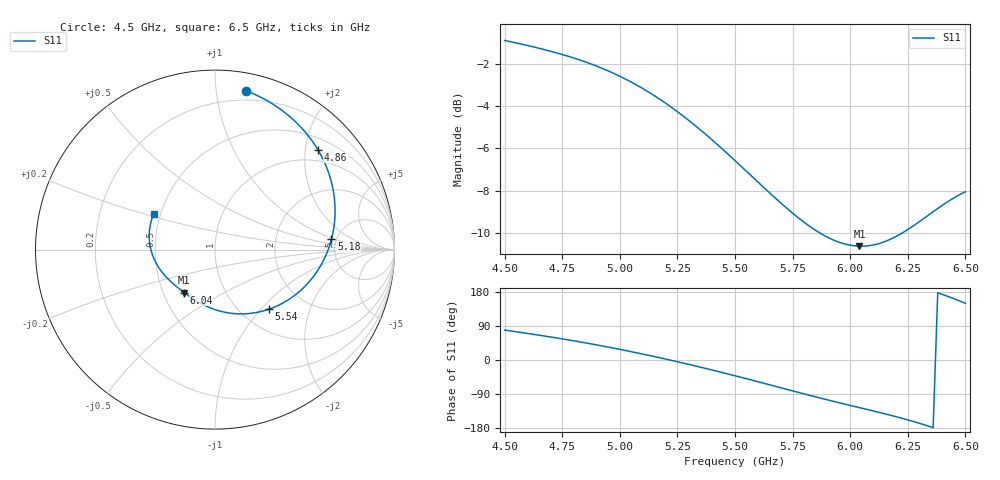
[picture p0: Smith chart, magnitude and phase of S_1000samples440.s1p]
! TOUCHSTONE file generated by CST MICROWAVE STUDIO
! Date and time: Fri Oct 28 04:36:44 2022
! Project name: L.cst
! Parameters = {Di=1.27; Epsilon_r=1.56; InnerDiameter=1.27; Length=2; Lf=10; Lg=60; OuterConductorThickness=0.2921; OuterDiameter=3.6; Wf=3; Wp=41.2; de=1.5; df=6.8; g=0.8; gx=2.05784; gy=2.72662; h=2.34; hf=1.524; px=11.7525; py=12.1704; w=9.7; wx=9.69471; wy=9.44376}
! Header version: 2018
! Port assignment regex: !\s*Touchstone port\s*([0-9]+)\s*=\s*(CST MWS port|CST DS port)\s*([0-9]+|Zmin|Zmax)\s*\(\"(.*)\"\)(\s*mode\s*([0-9]+))?.*
! Touchstone port assignment:
! Touchstone port 1 = CST MWS port 1 ("")
# GHz S DB R 50
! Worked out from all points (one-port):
!   101 points, 4.5 GHz to 6.5 GHz, reference 50 ohm
!   lowest |S11| = -10.6 dB at 6.04 GHz (marker M1), VSWR 1.83, Z = 31.9 - j16.7 ohm
!   |S11| at or under -10 dB: 5.869 GHz to 6.225 GHz (356 MHz wide, 5.89 % of centre)
!   S11 on the Smith chart (normalised r, x): 4.5 GHz: 0.13, +1.21; 4.86 GHz: 0.73, +2.26; 5.18 GHz: 4.55, +0.91; 5.54 GHz: 1.33, -1.11; 6.04 GHz: 0.64, -0.33; 6.5 GHz: 0.46, +0.22
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4.5  -0.90 79.0
4.56  -1.04 73.7
4.64  -1.24 66.4
4.76  -1.59 54.7
4.86  -1.95 44.2
4.94  -2.29 35.2
5  -2.59 28.1
5.06  -2.93 20.7
5.1  -3.17 15.6
5.18  -3.72 5.1
5.26  -4.35 -6.0
5.32  -4.86 -14.5
5.38  -5.40 -23.3
5.44  -5.98 -32.4
5.5  -6.57 -41.6
5.54  -6.98 -47.9
5.64  -8.00 -63.8
5.7  -8.59 -73.5
5.76  -9.15 -83.1
5.88  -10.07 -101.9
6  -10.57 -119.8
6.04  -10.62 -125.7
6.14  -10.44 -140.4
6.26  -9.76 -159.7
6.34  -9.15 -174.5
6.4  -8.69 173.1
6.46  -8.28 159.5
6.5  -8.05 149.6
